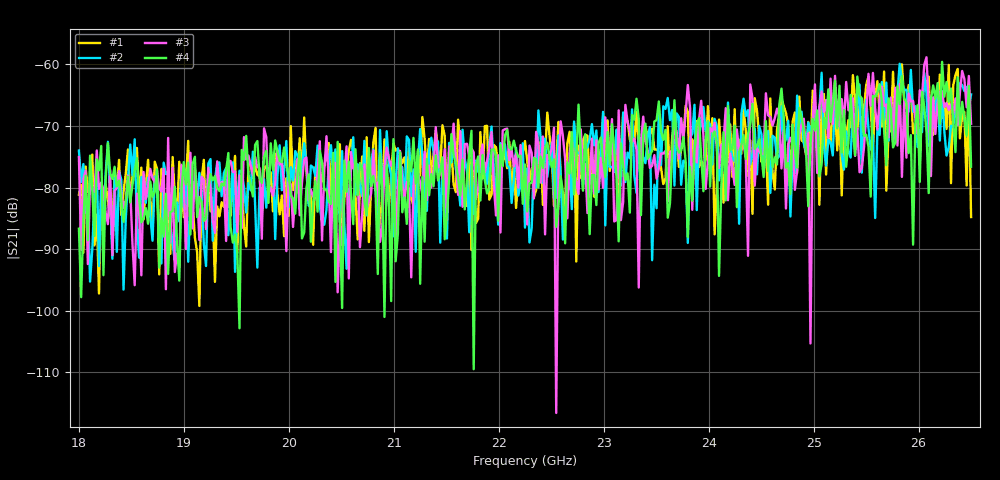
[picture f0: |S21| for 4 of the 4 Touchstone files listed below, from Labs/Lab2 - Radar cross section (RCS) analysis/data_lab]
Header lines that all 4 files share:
!Keysight Technologies,N5242B,MY47200105,A.14.00.23
!Correction: S11(C  2-Port  )
!S21(C  2-Port  )
!S12(C  2-Port  )
!S22(C  2-Port  )
!S2P File: Measurement: :
# Hz S  RI  R 50
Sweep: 18 GHz to 26.5 GHz
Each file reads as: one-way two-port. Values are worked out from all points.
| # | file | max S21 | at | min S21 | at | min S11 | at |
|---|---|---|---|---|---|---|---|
| 1 | wing370.s2p | -59.96 dB | 25.84 GHz | -99.2 dB | 19.15 GHz | -41.1 dB | 19.68 GHz |
| 2 | wing380.s2p | -59.88 dB | 25.82 GHz | -96.6 dB | 18.43 GHz | -38.7 dB | 19.68 GHz |
| 3 | wing390.s2p | -58.83 dB | 26.07 GHz | -116.6 dB | 22.55 GHz | -40.7 dB | 19.68 GHz |
| 4 | wing400.s2p | -59.57 dB | 26.22 GHz | -109.5 dB | 21.76 GHz | -40.9 dB | 19.68 GHz |
